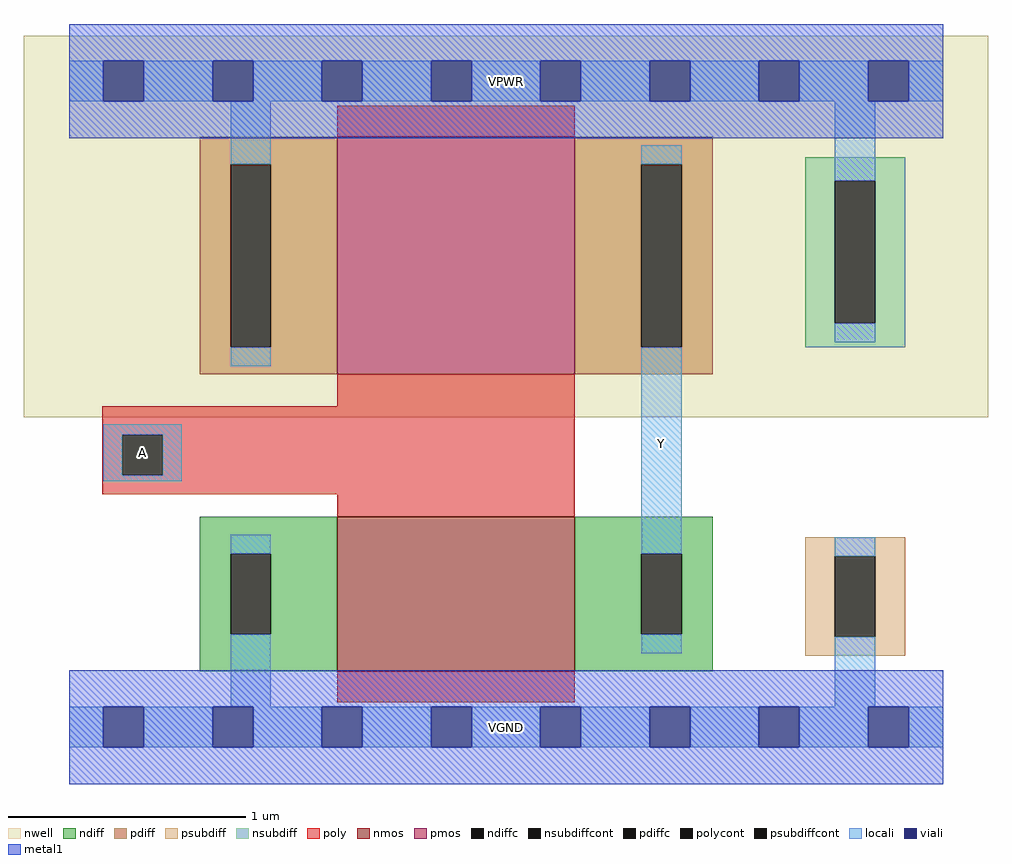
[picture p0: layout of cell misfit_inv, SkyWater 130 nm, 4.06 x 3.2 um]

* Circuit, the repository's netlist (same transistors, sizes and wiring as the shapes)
* NGSPICE file created from misfit_inv.ext - technology: sky130A

.subckt misfit_inv A Y VGND VPWR
X0 Y A VGND VGND sky130_fd_pr__nfet_01v8 ad=0.377 pd=2.46 as=0.377 ps=2.46 w=0.65 l=1
X1 Y A VPWR VPWR sky130_fd_pr__pfet_01v8 ad=0.58 pd=3.16 as=0.58 ps=3.16 w=1 l=1
.ends

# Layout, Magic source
magic
tech sky130A
magscale 1 2
<< nwell >>
rect -38 261 774 582
<< nmos >>
rect 226 47 426 177
<< pmos >>
rect 226 297 426 497
<< ndiff >>
rect 110 146 226 177
rect 110 78 136 146
rect 170 78 226 146
rect 110 47 226 78
rect 426 146 542 177
rect 426 78 482 146
rect 516 78 542 146
rect 426 47 542 78
<< pdiff >>
rect 110 474 226 497
rect 110 320 136 474
rect 170 320 226 474
rect 110 297 226 320
rect 426 474 542 497
rect 426 320 482 474
rect 516 320 542 474
rect 426 297 542 320
<< ndiffc >>
rect 136 78 170 146
rect 482 78 516 146
<< pdiffc >>
rect 136 320 170 474
rect 482 320 516 474
<< psubdiff >>
rect 620 144 704 160
rect 620 76 645 144
rect 679 76 704 144
rect 620 60 704 76
<< nsubdiff >>
rect 620 460 704 480
rect 620 340 645 460
rect 679 340 704 460
rect 620 320 704 340
<< psubdiffcont >>
rect 645 76 679 144
<< nsubdiffcont >>
rect 645 340 679 460
<< poly >>
rect 226 497 426 523
rect 226 270 426 297
rect 28 246 426 270
rect 28 212 45 246
rect 79 212 426 246
rect 28 196 426 212
rect 226 177 426 196
rect 226 21 426 47
<< polycont >>
rect 45 212 79 246
<< locali >>
rect 0 527 29 561
rect 63 527 121 561
rect 155 527 213 561
rect 247 527 305 561
rect 339 527 397 561
rect 431 527 489 561
rect 523 527 581 561
rect 615 527 673 561
rect 707 527 736 561
rect 136 474 170 527
rect 136 304 170 320
rect 482 474 516 490
rect 645 460 679 527
rect 645 324 679 340
rect 29 246 95 255
rect 29 212 45 246
rect 79 212 95 246
rect 29 207 95 212
rect 136 146 170 162
rect 136 17 170 78
rect 482 146 516 320
rect 482 62 516 78
rect 645 144 679 160
rect 645 17 679 76
rect 0 -17 29 17
rect 63 -17 121 17
rect 155 -17 213 17
rect 247 -17 305 17
rect 339 -17 397 17
rect 431 -17 489 17
rect 523 -17 581 17
rect 615 -17 673 17
rect 707 -17 736 17
<< viali >>
rect 29 527 63 561
rect 121 527 155 561
rect 213 527 247 561
rect 305 527 339 561
rect 397 527 431 561
rect 489 527 523 561
rect 581 527 615 561
rect 673 527 707 561
rect 29 -17 63 17
rect 121 -17 155 17
rect 213 -17 247 17
rect 305 -17 339 17
rect 397 -17 431 17
rect 489 -17 523 17
rect 581 -17 615 17
rect 673 -17 707 17
<< metal1 >>
rect 0 561 736 592
rect 0 527 29 561
rect 63 527 121 561
rect 155 527 213 561
rect 247 527 305 561
rect 339 527 397 561
rect 431 527 489 561
rect 523 527 581 561
rect 615 527 673 561
rect 707 527 736 561
rect 0 496 736 527
rect 0 17 736 48
rect 0 -17 29 17
rect 63 -17 121 17
rect 155 -17 213 17
rect 247 -17 305 17
rect 339 -17 397 17
rect 431 -17 489 17
rect 523 -17 581 17
rect 615 -17 673 17
rect 707 -17 736 17
rect 0 -48 736 -17
<< labels >>
flabel locali 29 207 95 255 0 FreeSans 320 0 0 0 A
port 1 nsew
flabel locali 482 215 516 263 0 FreeSans 320 0 0 0 Y
port 2 nsew
flabel metal1 0 -48 736 48 0 FreeSans 320 0 0 0 VGND
port 3 nsew
flabel metal1 0 496 736 592 0 FreeSans 320 0 0 0 VPWR
port 4 nsew
<< properties >>
string FIXED_BBOX 0 0 736 544
<< end >>
